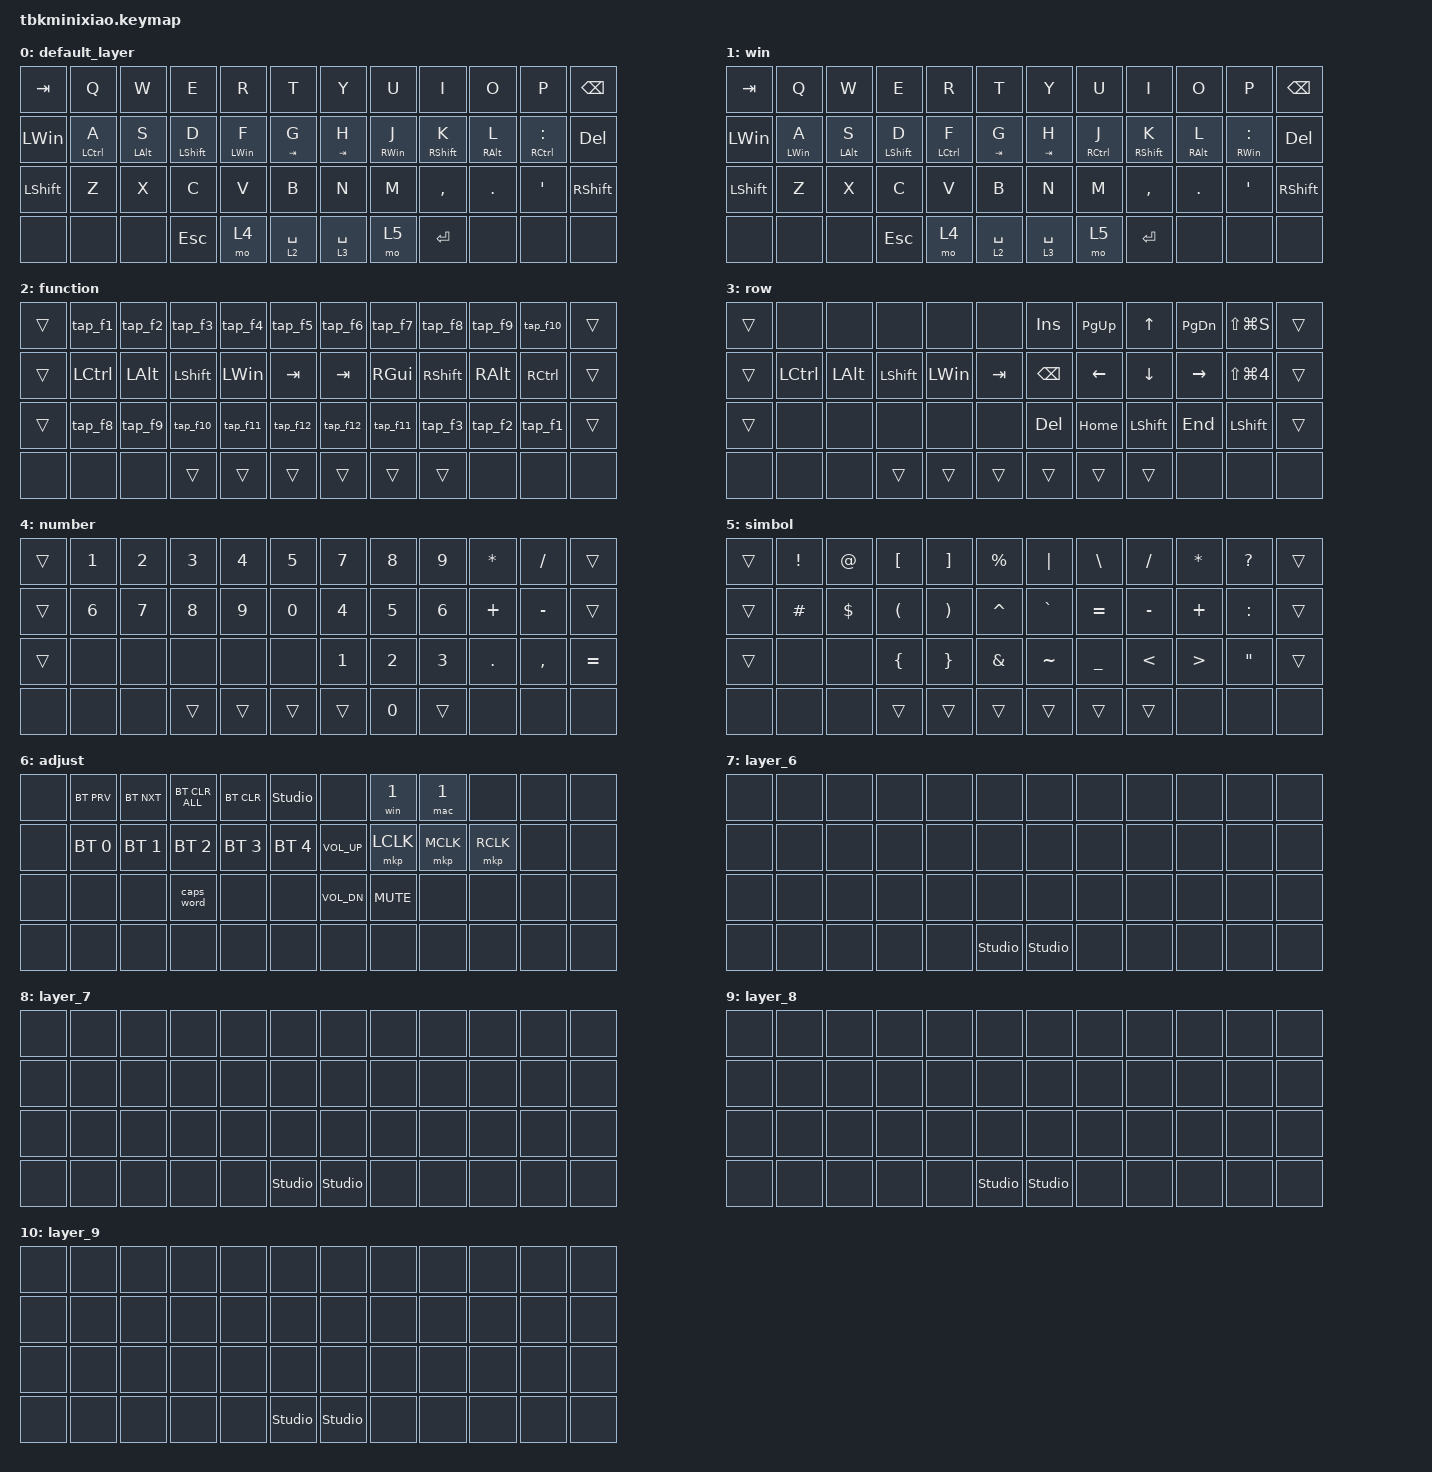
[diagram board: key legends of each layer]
/*
 * Copyright (c) 2020 The ZMK Contributors
 * 
 * SPDX-License-Identifier: MIT
 */

#define ZMK_POINTING_DEFAULT_MOVE_VAL 8000  // default: 600
#define ZMK_POINTING_DEFAULT_SCRL_VAL 20    // default: 20

#include <behaviors.dtsi>
#include <dt-bindings/zmk/bt.h>
#include <dt-bindings/zmk/keys.h>
#include <dt-bindings/zmk/pointing.h>

/ {
    behaviors {
        hm: homerow_mods {
            compatible = "zmk,behavior-hold-tap";
            #binding-cells = <2>;
            tapping-term-ms = <200>;
            flavor = "tap-preferred";
            require-prior-idle-ms = <200>;
            bindings = <&kp>, <&kp>;
        };

        win: os_win {
            compatible = "zmk,behavior-toggle-layer";
            #binding-cells = <1>;
            display-name = "WIN";
            toggle-mode = "on";
        };

        mac: os_mac {
            compatible = "zmk,behavior-toggle-layer";
            #binding-cells = <1>;
            display-name = "MAC";
            toggle-mode = "off";
        };

        tap_f1: tap_f1 {
            compatible = "zmk,behavior-tap-dance";
            label = "TAP_F1";
            #binding-cells = <0>;
            bindings = <&kp F1>, <&kp LA(F1)>, <&kp LS(F1)>, <&kp LC(F1)>;
        };

        tap_f2: tap_f2 {
            compatible = "zmk,behavior-tap-dance";
            label = "TAP_F2";
            #binding-cells = <0>;
            bindings = <&kp F2>, <&kp LA(F2)>, <&kp LS(F2)>, <&kp LC(F2)>;
        };

        tap_f3: tap_f3 {
            compatible = "zmk,behavior-tap-dance";
            label = "TAP_F3";
            #binding-cells = <0>;
            bindings = <&kp F3>, <&kp LA(F3)>, <&kp LS(F3)>, <&kp LC(F3)>;
        };

        tap_f4: tap_f4 {
            compatible = "zmk,behavior-tap-dance";
            label = "TAP_F4";
            #binding-cells = <0>;
            bindings = <&kp F4>, <&kp LA(F4)>, <&kp LS(F4)>, <&kp LC(F4)>;
        };

        tap_f5: tap_f5 {
            compatible = "zmk,behavior-tap-dance";
            label = "TAP_F5";
            #binding-cells = <0>;
            bindings = <&kp F5>, <&kp LA(F5)>, <&kp LS(F5)>, <&kp LC(F5)>;
        };

        tap_f6: tap_f6 {
            compatible = "zmk,behavior-tap-dance";
            label = "TAP_F6";
            #binding-cells = <0>;
            bindings = <&kp F6>, <&kp LA(F6)>, <&kp LS(F6)>, <&kp LC(F6)>;
        };

        tap_f7: tap_f7 {
            compatible = "zmk,behavior-tap-dance";
            label = "TAP_F7";
            #binding-cells = <0>;
            bindings = <&kp F7>, <&kp LA(F7)>, <&kp LS(F7)>, <&kp LC(F7)>;
        };

        tap_f8: tap_f8 {
            compatible = "zmk,behavior-tap-dance";
            label = "TAP_F8";
            #binding-cells = <0>;
            bindings = <&kp F8>, <&kp LA(F8)>, <&kp LS(F8)>, <&kp LC(F8)>;
        };

        tap_f9: tap_f9 {
            compatible = "zmk,behavior-tap-dance";
            label = "TAP_F9";
            #binding-cells = <0>;
            bindings = <&kp F9>, <&kp LA(F9)>, <&kp LS(F9)>, <&kp LC(F9)>;
        };

        tap_f10: tap_f10 {
            compatible = "zmk,behavior-tap-dance";
            label = "TAP_F10";
            #binding-cells = <0>;
            bindings = <&kp F10>, <&kp LA(F10)>, <&kp LS(F10)>, <&kp LC(F10)>;
        };

        tap_f11: tap_f11 {
            compatible = "zmk,behavior-tap-dance";
            label = "TAP_F11";
            #binding-cells = <0>;
            bindings = <&kp F11>, <&kp LA(F11)>, <&kp LS(F11)>, <&kp LC(F11)>;
        };

        tap_f12: tap_f12 {
            compatible = "zmk,behavior-tap-dance";
            label = "TAP_F12";
            #binding-cells = <0>;
            bindings = <&kp F12>, <&kp LA(F12)>, <&kp LS(F12)>, <&kp LC(F12)>;
        };
    };

    combos {
        compatible = "zmk,combos";

        bluetooth {
            bindings = <&mo 6>;
            key-positions = <40 43>;
        };
    };

    keymap {
        compatible = "zmk,keymap";

        default_layer {
            bindings = <
  &kp TAB    &kp Q        &kp W       &kp E             &kp R       &kp T        &kp Y        &kp U       &kp I              &kp O       &kp P            &kp BSPC
  &kp LWIN   &hm LCTRL A  &hm LALT S  &hm LEFT_SHIFT D  &hm LWIN F  &hm TAB G    &hm TAB H    &hm RWIN J  &hm RIGHT_SHIFT K  &hm RALT L  &hm RCTRL COLON  &kp DEL
  &kp LSHFT  &kp Z        &kp X       &kp C             &kp V       &kp B        &kp N        &kp M       &kp COMMA          &kp DOT     &kp SQT          &kp RSHFT
  &none      &none        &none       &kp ESC           &mo 4       &lt 2 SPACE  &lt 3 SPACE  &mo 5       &kp ENTER          &none       &none            &none
            >;
        };

        win {
            bindings = <
  &kp TAB    &kp Q        &kp W       &kp E             &kp R       &kp T        &kp Y        &kp U       &kp I              &kp O       &kp P            &kp BSPC
  &kp LWIN   &hm LWIN A   &hm LALT S  &hm LEFT_SHIFT D  &hm LCTRL F  &hm TAB G   &hm TAB H    &hm RCTRL J  &hm RIGHT_SHIFT K  &hm RALT L  &hm RWIN COLON   &kp DEL
  &kp LSHFT  &kp Z        &kp X       &kp C             &kp V       &kp B        &kp N        &kp M       &kp COMMA          &kp DOT     &kp SQT          &kp RSHFT
  &none      &none        &none       &kp ESC           &mo 4       &lt 2 SPACE  &lt 3 SPACE  &mo 5       &kp ENTER          &none       &none            &none
            >;
        };

        function {
            bindings = <
  &trans  &tap_f1    &tap_f2   &tap_f3    &tap_f4   &tap_f5   &tap_f6   &tap_f7   &tap_f8    &tap_f9   &tap_f10   &trans
  &trans  &kp LCTRL  &kp LALT  &kp LSHFT  &kp LWIN  &kp TAB   &kp TAB   &kp RGUI  &kp RSHFT  &kp RALT  &kp RCTRL  &trans
  &trans  &tap_f8    &tap_f9   &tap_f10   &tap_f11  &tap_f12  &tap_f12  &tap_f11  &tap_f3    &tap_f2   &tap_f1    &trans
  &none   &none      &none     &trans     &trans    &trans    &trans    &trans    &trans     &none     &none      &none
            >;
        };

        row {
            bindings = <
  &trans  &none      &none     &none           &none     &none    &kp INS        &kp PAGE_UP     &kp UP     &kp PAGE_DOWN  &kp LS(LG(S))         &trans
  &trans  &kp LCTRL  &kp LALT  &kp LEFT_SHIFT  &kp LWIN  &kp TAB  &kp BACKSPACE  &kp LEFT_ARROW  &kp DOWN   &kp RIGHT      &kp LS(LG(NUMBER_4))  &trans
  &trans  &none      &none     &none           &none     &none    &kp DEL        &kp HOME        &kp LSHFT  &kp END        &kp LSHFT             &trans
  &none   &none      &none     &trans          &trans    &trans   &trans         &trans          &trans     &none          &none                 &none
            >;
        };

        number {
            bindings = <
  &trans  &kp N1  &kp N2  &kp N3  &kp N4  &kp N5  &kp N7  &kp N8  &kp N9  &kp ASTRK  &kp SLASH  &trans
  &trans  &kp N6  &kp N7  &kp N8  &kp N9  &kp N0  &kp N4  &kp N5  &kp N6  &kp PLUS   &kp MINUS  &trans
  &trans  &none   &none   &none   &none   &none   &kp N1  &kp N2  &kp N3  &kp DOT    &kp COMMA  &kp EQUAL
  &none   &none   &none   &trans  &trans  &trans  &trans  &kp N0  &trans  &none      &none      &none
            >;
        };

        simbol {
            bindings = <
  &trans  &kp EXCL  &kp AT    &kp LBKT  &kp RBKT  &kp PRCNT  &kp PIPE   &kp BSLH   &kp SLASH  &kp ASTRK  &kp QMARK  &trans
  &trans  &kp HASH  &kp DLLR  &kp LPAR  &kp RPAR  &kp CARET  &kp GRAVE  &kp EQUAL  &kp MINUS  &kp PLUS   &kp COLON  &trans
  &trans  &none     &none     &kp LBRC  &kp RBRC  &kp AMPS   &kp TILDE  &kp UNDER  &kp LT     &kp GT     &kp DQT    &trans
  &none   &none     &none     &trans    &trans    &trans     &trans     &trans     &trans     &none      &none      &none
            >;
        };

        adjust {
            bindings = <
  &none  &bt BT_PRV    &bt BT_NXT    &bt BT_CLR_ALL  &bt BT_CLR    &studio_unlock  &none         &win 1      &mac 1     &none      &none  &none
  &none  &bt BT_SEL 0  &bt BT_SEL 1  &bt BT_SEL 2    &bt BT_SEL 3  &bt BT_SEL 4    &kp C_VOL_UP  &mkp LCLK   &mkp MCLK  &mkp RCLK  &none  &none
  &none  &none         &none         &caps_word      &none         &none           &kp C_VOL_DN  &kp K_MUTE  &none      &none      &none  &none
  &none  &none         &none         &none           &none         &none           &none         &none       &none      &none      &none  &none
            >;
        };

        layer_6 {
            bindings = <
  &none  &none  &none  &none  &none  &none           &none           &none  &none  &none  &none  &none
  &none  &none  &none  &none  &none  &none           &none           &none  &none  &none  &none  &none
  &none  &none  &none  &none  &none  &none           &none           &none  &none  &none  &none  &none
  &none  &none  &none  &none  &none  &studio_unlock  &studio_unlock  &none  &none  &none  &none  &none
            >;
        };

        layer_7 {
            bindings = <
  &none  &none  &none  &none  &none  &none           &none           &none  &none  &none  &none  &none
  &none  &none  &none  &none  &none  &none           &none           &none  &none  &none  &none  &none
  &none  &none  &none  &none  &none  &none           &none           &none  &none  &none  &none  &none
  &none  &none  &none  &none  &none  &studio_unlock  &studio_unlock  &none  &none  &none  &none  &none
            >;
        };

        layer_8 {
            bindings = <
  &none  &none  &none  &none  &none  &none           &none           &none  &none  &none  &none  &none
  &none  &none  &none  &none  &none  &none           &none           &none  &none  &none  &none  &none
  &none  &none  &none  &none  &none  &none           &none           &none  &none  &none  &none  &none
  &none  &none  &none  &none  &none  &studio_unlock  &studio_unlock  &none  &none  &none  &none  &none
            >;
        };

        layer_9 {
            bindings = <
  &none  &none  &none  &none  &none  &none           &none           &none  &none  &none  &none  &none
  &none  &none  &none  &none  &none  &none           &none           &none  &none  &none  &none  &none
  &none  &none  &none  &none  &none  &none           &none           &none  &none  &none  &none  &none
  &none  &none  &none  &none  &none  &studio_unlock  &studio_unlock  &none  &none  &none  &none  &none
            >;
        };
    };
};
